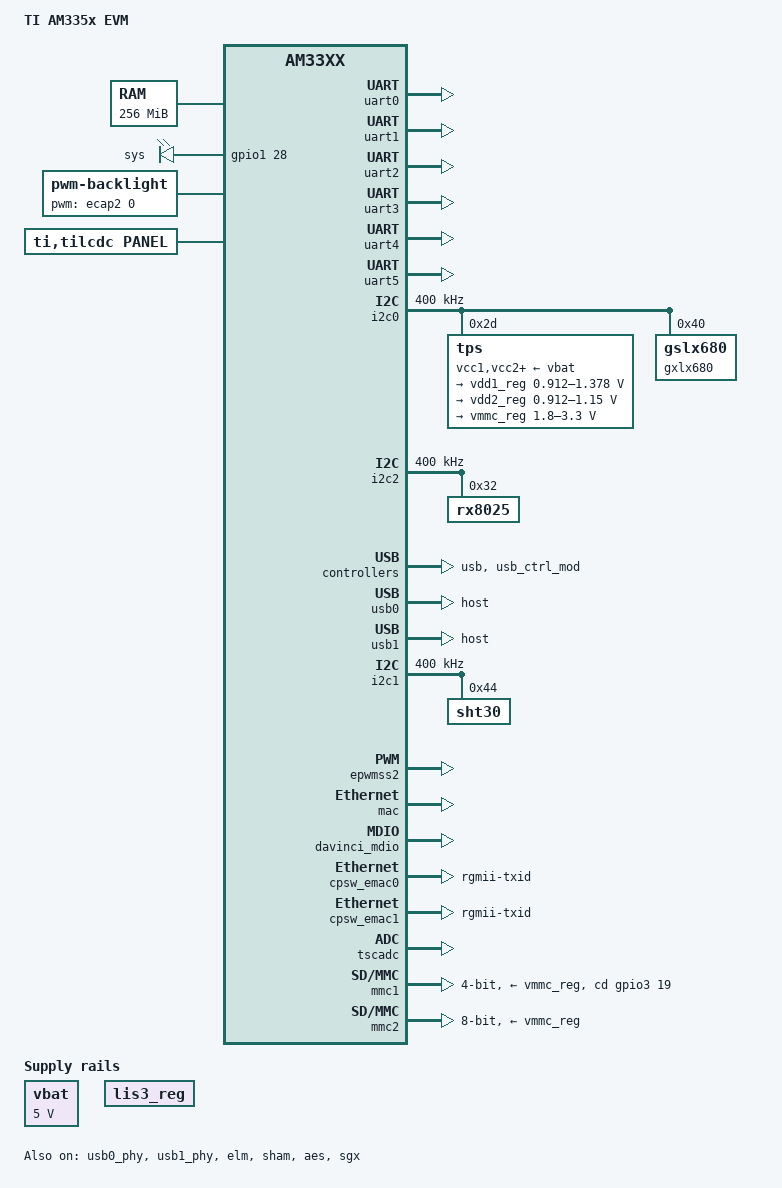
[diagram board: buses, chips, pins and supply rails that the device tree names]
/*
 * Copyright (C) 2012 Texas Instruments Incorporated - http://www.ti.com/
 *
 * This program is free software; you can redistribute it and/or modify
 * it under the terms of the GNU General Public License version 2 as
 * published by the Free Software Foundation.
 */
/dts-v1/;

#include "am33xx.dtsi"
#include <dt-bindings/interrupt-controller/irq.h>

/ {
	model = "TI AM335x EVM";
	compatible = "ti,am335x-evm", "ti,am33xx";

	cpus {
		cpu@0 {
			cpu0-supply = <&vdd1_reg>;
		};
	};

	memory {
		device_type = "memory";
		reg = <0x80000000 0x10000000>; /* 256 MB */
	};

	vbat: fixedregulator@0 {
		compatible = "regulator-fixed";
		regulator-name = "vbat";
		regulator-min-microvolt = <5000000>;
		regulator-max-microvolt = <5000000>;
		regulator-boot-on;
	};

	lis3_reg: fixedregulator@1 {
		compatible = "regulator-fixed";
		regulator-name = "lis3_reg";
		regulator-boot-on;
	};


	leds {
                pinctrl-names = "default";
                pinctrl-0 = <&user_leds_s0>;

                compatible = "gpio-leds";

                led@1 {
                        label = "sys";
                        gpios = <&gpio1 28 GPIO_ACTIVE_HIGH>;
                        linux,default-trigger = "heartbeat";
                        default-state = "on";
                };
        };


	backlight {
		compatible = "pwm-backlight";
		pwms = <&ecap2 0 50000 0>;
		brightness-levels = <0 51 53 56 62 75 101 152 255>;
		default-brightness-level = <1>;
	};

	panel {
		compatible = "ti,tilcdc,panel";
		status = "okay";
		panel-info {
			ac-bias           = <255>;
			ac-bias-intrpt    = <0>;
			dma-burst-sz      = <16>;
			bpp               = <16>;
			fdd               = <0x80>;
			sync-edge         = <0>;
			sync-ctrl         = <1>;
			raster-order      = <0>;
			fifo-th           = <0>;
		};

		display-timings {
			1024x600p62 {
				clock-frequency = <60000000>;
				hactive = <1024>;
				vactive = <600>;
				hfront-porch = <160>;
				hback-porch = <140>;
				hsync-len = <20>;
				vback-porch = <20>;
				vfront-porch = <12>;
				vsync-len = <3>;
				hsync-active = <1>;
				vsync-active = <1>;
			};
		};
	};

};

&am33xx_pinmux {
	pinctrl-names = "default";
	pinctrl-0 = < >;


	i2c0_pins: pinmux_i2c0_pins {
		pinctrl-single,pins = <
			0x188 (PIN_INPUT_PULLUP | MUX_MODE0)	/* i2c0_sda.i2c0_sda */
			0x18c (PIN_INPUT_PULLUP | MUX_MODE0)	/* i2c0_scl.i2c0_scl */
		>;
	};

	i2c1_pins_default: pinmux_i2c1_pins {
		pinctrl-single,pins = <
			0x158 (PIN_INPUT_PULLUP | MUX_MODE2)	/* spi0_d1.i2c1_sda */
			0x15c (PIN_INPUT_PULLUP | MUX_MODE2)	/* spi0_cs0.i2c1_scl */
		>;
	};

	i2c1_pins_sleep: i2c1_pins_sleep {
		pinctrl-single,pins = <
			0x158 (PIN_INPUT_PULLDOWN | MUX_MODE7)	/* spi0_d1.i2c1_sda */
			0x15c (PIN_INPUT_PULLDOWN | MUX_MODE7)	/* spi0_cs0.i2c1_scl */
		>;
	};

	i2c2_pins_default: pinmux_i2c2_pins {
		pinctrl-single,pins = <
			0x178 (PIN_INPUT_PULLDOWN | MUX_MODE3)
			0x17c (PIN_INPUT_PULLDOWN | MUX_MODE3)
		>;
	};

	uart0_pins: pinmux_uart0_pins {
		pinctrl-single,pins = <
			0x170 (PIN_INPUT_PULLUP | MUX_MODE0)	/* uart0_rxd.uart0_rxd */
			0x174 (PIN_OUTPUT_PULLDOWN | MUX_MODE0)	/* uart0_txd.uart0_txd */
		>;
	};

	uart1_pins_default: pinmux_uart1_pins_default {
		pinctrl-single,pins = <
			0x180 (PIN_INPUT_PULLUP | MUX_MODE0)	/* uart1_rxd.uart1_rxd */
			0x184 (PIN_OUTPUT_PULLDOWN | MUX_MODE0) 	/* uart1_txd.uart1_txd */
		>;
	};

	uart1_pins_sleep: pinmux_uart1_pins_sleep {
		pinctrl-single,pins = <
			0x180 (PIN_INPUT_PULLDOWN | MUX_MODE7)
			0x184 (PIN_INPUT_PULLDOWN | MUX_MODE7)
		>;
	};

	uart2_pins_default: pinmux_uart2_pins_default {
                pinctrl-single,pins = <
                       0x10C  (PIN_INPUT_PULLUP | MUX_MODE6)
                       0x110  (PIN_OUTPUT_PULLDOWN | MUX_MODE6)

                >;
        };

        uart2_pins_sleep: pinmux_uart2_pins_sleep {
                pinctrl-single,pins = <
                       0x10C  (PIN_INPUT_PULLDOWN | MUX_MODE7)
                       0x110  (PIN_OUTPUT_PULLDOWN | MUX_MODE7)
                >;
        };



       uart3_pins_default: pinmux_uart3_pins_default {
                pinctrl-single,pins = <
                       0x160  (PIN_INPUT_PULLUP | MUX_MODE1)
                       0x164  (PIN_OUTPUT_PULLDOWN | MUX_MODE1)
                >;
        };

        uart3_pins_sleep: pinmux_uart3_pins_sleep {
                pinctrl-single,pins = <
                       0x160  (PIN_INPUT_PULLUP | MUX_MODE7)
                       0x164  (PIN_OUTPUT_PULLDOWN | MUX_MODE7)
                >;
        };


       uart4_pins_default: pinmux_uart4_pins_default {
                pinctrl-single,pins = <
                       0x168  (PIN_INPUT_PULLUP | MUX_MODE1)
                       0x16C  (PIN_OUTPUT_PULLDOWN | MUX_MODE1)

                >;
        };

        uart4_pins_sleep: pinmux_uart4_pins_sleep {
                pinctrl-single,pins = <
                       0x168  (PIN_INPUT_PULLUP | MUX_MODE7)
                       0x16C  (PIN_OUTPUT_PULLDOWN | MUX_MODE7)
                >;
        };

	uart5_pins_default: pinmux_uart5_pins_default {
                pinctrl-single,pins = <
                       0xC4  (PIN_INPUT_PULLUP | MUX_MODE4)
                       0xC0  (PIN_OUTPUT_PULLDOWN | MUX_MODE4)

                >;
        };

        uart5_pins_sleep: pinmux_uart5_pins_sleep {
                pinctrl-single,pins = <
                       0xC4  (PIN_INPUT_PULLUP | MUX_MODE7)
                       0xC0  (PIN_OUTPUT_PULLDOWN | MUX_MODE7)
                >;
        };

	




	ecap2_pins_default: backlight_pins {
		pinctrl-single,pins = <
			0x19c 0x04	/* eCAP0_in_PWM0_out.eCAP0_in_PWM0_out MODE0 */
		>;
	};

	ecap2_pins_sleep: ecap2_pins_sleep {
		pinctrl-single,pins = <
			0x19c  (PIN_INPUT_PULLDOWN | MUX_MODE7)	/* eCAP0_in_PWM0_out.eCAP0_in_PWM0_out */
		>;
	};

	cpsw_default: cpsw_default {
		pinctrl-single,pins = <
			/* Slave 1 */
			0x114 (PIN_OUTPUT_PULLDOWN | MUX_MODE2)	/* mii1_txen.rgmii1_tctl */
			0x118 (PIN_INPUT_PULLDOWN | MUX_MODE2)	/* mii1_rxdv.rgmii1_rctl */
			0x11c (PIN_OUTPUT_PULLDOWN | MUX_MODE2)	/* mii1_txd3.rgmii1_td3 */
			0x120 (PIN_OUTPUT_PULLDOWN | MUX_MODE2)	/* mii1_txd2.rgmii1_td2 */
			0x124 (PIN_OUTPUT_PULLDOWN | MUX_MODE2)	/* mii1_txd1.rgmii1_td1 */
			0x128 (PIN_OUTPUT_PULLDOWN | MUX_MODE2)	/* mii1_txd0.rgmii1_td0 */
			0x12c (PIN_OUTPUT_PULLDOWN | MUX_MODE2)	/* mii1_txclk.rgmii1_tclk */
			0x130 (PIN_INPUT_PULLDOWN | MUX_MODE2)	/* mii1_rxclk.rgmii1_rclk */
			0x134 (PIN_INPUT_PULLDOWN | MUX_MODE2)	/* mii1_rxd3.rgmii1_rd3 */
			0x138 (PIN_INPUT_PULLDOWN | MUX_MODE2)	/* mii1_rxd2.rgmii1_rd2 */
			0x13c (PIN_INPUT_PULLDOWN | MUX_MODE2)	/* mii1_rxd1.rgmii1_rd1 */
			0x140 (PIN_INPUT_PULLDOWN | MUX_MODE2)	/* mii1_rxd0.rgmii1_rd0 */
			0x144 (PIN_OUTPUT_PULLDOWN | MUX_MODE0)

			0x40 (PIN_OUTPUT_PULLDOWN | MUX_MODE2)  /* gpmc_a0.rgmii2_tctl */
                       0x44 (PIN_INPUT_PULLDOWN | MUX_MODE2)   /* gpmc_a1.rgmii2_rctl */
                        0x48 (PIN_OUTPUT_PULLDOWN | MUX_MODE2)  /* gpmc_a2.rgmii2_td3 */
                        0x4c (PIN_OUTPUT_PULLDOWN | MUX_MODE2)  /* gpmc_a3.rgmii2_td2 */
                        0x50 (PIN_OUTPUT_PULLDOWN | MUX_MODE2)  /* gpmc_a4.rgmii2_td1 */
                        0x54 (PIN_OUTPUT_PULLDOWN | MUX_MODE2)  /* gpmc_a5.rgmii2_td0 */
                        0x58 (PIN_OUTPUT_PULLDOWN | MUX_MODE2)  /* gpmc_a6.rgmii2_tclk */
                        0x5c (PIN_INPUT_PULLDOWN | MUX_MODE2)   /* gpmc_a7.rgmii2_rclk */
                        0x60 (PIN_INPUT_PULLDOWN | MUX_MODE2)   /* gpmc_a8.rgmii2_rd3 */
                        0x64 (PIN_INPUT_PULLDOWN | MUX_MODE2)   /* gpmc_a9.rgmii2_rd2 */
                        0x68 (PIN_INPUT_PULLDOWN | MUX_MODE2)   /* gpmc_a10.rgmii2_rd1 */
                        0x6c (PIN_INPUT_PULLDOWN | MUX_MODE2)   /* gpmc_a11.rgmii2_rd0 */

		>;
	};

	cpsw_sleep: cpsw_sleep {
		pinctrl-single,pins = <
			/* Slave 1 reset value */
			0x114 (PIN_INPUT_PULLDOWN | MUX_MODE7)
			0x118 (PIN_INPUT_PULLDOWN | MUX_MODE7)
			0x11c (PIN_INPUT_PULLDOWN | MUX_MODE7)
			0x120 (PIN_INPUT_PULLDOWN | MUX_MODE7)
			0x124 (PIN_INPUT_PULLDOWN | MUX_MODE7)
			0x128 (PIN_INPUT_PULLDOWN | MUX_MODE7)
			0x12c (PIN_INPUT_PULLDOWN | MUX_MODE7)
			0x130 (PIN_INPUT_PULLDOWN | MUX_MODE7)
			0x134 (PIN_INPUT_PULLDOWN | MUX_MODE7)
			0x138 (PIN_INPUT_PULLDOWN | MUX_MODE7)
			0x13c (PIN_INPUT_PULLDOWN | MUX_MODE7)
			0x140 (PIN_INPUT_PULLDOWN | MUX_MODE7)
		>;
	};

	davinci_mdio_default: davinci_mdio_default {
		pinctrl-single,pins = <
			/* MDIO */
			0x148 (PIN_INPUT_PULLUP | SLEWCTRL_FAST | MUX_MODE0)	/* mdio_data.mdio_data */
			0x14c (PIN_OUTPUT_PULLUP | MUX_MODE0)			/* mdio_clk.mdio_clk */
		>;
	};

	davinci_mdio_sleep: davinci_mdio_sleep {
		pinctrl-single,pins = <
			/* MDIO reset value */
			0x148 (PIN_INPUT_PULLDOWN | MUX_MODE7)
			0x14c (PIN_INPUT_PULLDOWN | MUX_MODE7)
		>;
	};

	mmc1_pins_default: pinmux_mmc1_pins {
		pinctrl-single,pins = <
			0x0F0 (PIN_INPUT_PULLUP | MUX_MODE0)    /* mmc0_dat3.mmc0_dat3 */
			0x0F4 (PIN_INPUT_PULLUP | MUX_MODE0)    /* mmc0_dat2.mmc0_dat2 */
			0x0F8 (PIN_INPUT_PULLUP | MUX_MODE0)    /* mmc0_dat1.mmc0_dat1 */
			0x0FC (PIN_INPUT_PULLUP | MUX_MODE0)    /* mmc0_dat0.mmc0_dat0 */
			0x100 (PIN_INPUT_PULLUP | MUX_MODE0)    /* mmc0_clk.mmc0_clk */
			0x104 (PIN_INPUT_PULLUP | MUX_MODE0)    /* mmc0_cmd.mmc0_cmd */
			0x1A4 (PIN_INPUT_PULLUP | MUX_MODE7)    /* mcasp0_fsr.gpio3_19 */
		>;
	};

	mmc1_pins_sleep: pinmux_mmc1_pins_sleep {
		pinctrl-single,pins = <
			0x0F0 (PIN_INPUT_PULLDOWN | MUX_MODE7)
			0x0F4 (PIN_INPUT_PULLDOWN | MUX_MODE7)
			0x0F8 (PIN_INPUT_PULLDOWN | MUX_MODE7)
			0x0FC (PIN_INPUT_PULLDOWN | MUX_MODE7)
			0x100 (PIN_INPUT_PULLDOWN | MUX_MODE7)
			0x104 (PIN_INPUT_PULLDOWN | MUX_MODE7)
			0x1A4 (PIN_INPUT_PULLDOWN | MUX_MODE7)
		>;
	};


	mmc2_pins_default: pinmux_mmc2_pins {
                pinctrl-single,pins = <
                        0x000 (PIN_INPUT_PULLUP | MUX_MODE1)    /* gpmc_ad0.mmc1_dat0 */
                        0x004 (PIN_INPUT_PULLUP | MUX_MODE1)    /* gpmc_ad1.mmc1_dat1 */
                        0x008 (PIN_INPUT_PULLUP | MUX_MODE1)    /* gpmc_ad2.mmc1_dat2 */
                        0x00c (PIN_INPUT_PULLUP | MUX_MODE1)    /* gpmc_ad3.mmc1_dat3 */
                        0x010 (PIN_INPUT_PULLUP | MUX_MODE1)    /* gpmc_ad4.mmc1_dat4 */
                        0x014 (PIN_INPUT_PULLUP | MUX_MODE1)    /* gpmc_ad5.mmc1_dat5 */
                        0x018 (PIN_INPUT_PULLUP | MUX_MODE1)    /* gpmc_ad6.mmc1_dat6 */
                        0x01c (PIN_INPUT_PULLUP | MUX_MODE1)    /* gpmc_ad7.mmc1_dat7 */
                >;
        };

        mmc2_pins_sleep: pinmux_mmc2_pins_sleep {
                pinctrl-single,pins = <
                        0x000 (PIN_INPUT_PULLDOWN | MUX_MODE1)    /* gpmc_ad0.mmc1_dat0 */
                        0x004 (PIN_INPUT_PULLDOWN | MUX_MODE1)    /* gpmc_ad1.mmc1_dat1 */
                        0x008 (PIN_INPUT_PULLDOWN | MUX_MODE1)    /* gpmc_ad2.mmc1_dat2 */
                        0x00c (PIN_INPUT_PULLDOWN | MUX_MODE1)    /* gpmc_ad3.mmc1_dat3 */
                        0x010 (PIN_INPUT_PULLDOWN | MUX_MODE1)    /* gpmc_ad4.mmc1_dat4 */
                        0x014 (PIN_INPUT_PULLDOWN | MUX_MODE1)    /* gpmc_ad5.mmc1_dat5 */
                        0x018 (PIN_INPUT_PULLDOWN | MUX_MODE1)    /* gpmc_ad6.mmc1_dat6 */
                        0x01c (PIN_INPUT_PULLDOWN | MUX_MODE1)    /* gpmc_ad7.mmc1_dat7 */
                >;
        };



	nand_pins_default: nand_pins_default {
                pinctrl-single,pins = <
                        0x0 (PIN_INPUT_PULLUP | MUX_MODE0)      /* gpmc_ad0.gpmc_ad0 */
                        0x4 (PIN_INPUT_PULLUP | MUX_MODE0)      /* gpmc_ad1.gpmc_ad1 */
                        0x8 (PIN_INPUT_PULLUP | MUX_MODE0)      /* gpmc_ad2.gpmc_ad2 */
                        0xc (PIN_INPUT_PULLUP | MUX_MODE0)      /* gpmc_ad3.gpmc_ad3 */
                        0x10 (PIN_INPUT_PULLUP | MUX_MODE0)     /* gpmc_ad4.gpmc_ad4 */
                        0x14 (PIN_INPUT_PULLUP | MUX_MODE0)     /* gpmc_ad5.gpmc_ad5 */
                        0x18 (PIN_INPUT_PULLUP | MUX_MODE0)     /* gpmc_ad6.gpmc_ad6 */
                        0x1c (PIN_INPUT_PULLUP | MUX_MODE0)     /* gpmc_ad7.gpmc_ad7 */
                        0x70 (PIN_INPUT_PULLUP | MUX_MODE0)     /* gpmc_wait0.gpmc_wait0 */
                        0x74 (PIN_INPUT_PULLUP | MUX_MODE7)     /* gpmc_wpn.gpio0_30 */
                        0x7c (PIN_OUTPUT | MUX_MODE0)           /* gpmc_csn0.gpmc_csn0  */
                        0x90 (PIN_OUTPUT | MUX_MODE0)           /* gpmc_advn_ale.gpmc_advn_ale */
                        0x94 (PIN_OUTPUT | MUX_MODE0)           /* gpmc_oen_ren.gpmc_oen_ren */
                        0x98 (PIN_OUTPUT | MUX_MODE0)           /* gpmc_wen.gpmc_wen */
                        0x9c (PIN_OUTPUT | MUX_MODE0)           /* gpmc_be0n_cle.gpmc_be0n_cle */
                >;
        };




	lcd_pins_default: lcd_pins_default {
		pinctrl-single,pins = <
			0xa0 (PIN_OUTPUT | MUX_MODE0)		/* lcd_data0.lcd_data0 */
			0xa4 (PIN_OUTPUT | MUX_MODE0)		/* lcd_data1.lcd_data1 */
			0xa8 (PIN_OUTPUT | MUX_MODE0)		/* lcd_data2.lcd_data2 */
			0xac (PIN_OUTPUT | MUX_MODE0)		/* lcd_data3.lcd_data3 */
			0xb0 (PIN_OUTPUT | MUX_MODE0)		/* lcd_data4.lcd_data4 */
			0xb4 (PIN_OUTPUT | MUX_MODE0)		/* lcd_data5.lcd_data5 */
			0xb8 (PIN_OUTPUT | MUX_MODE0)		/* lcd_data6.lcd_data6 */
			0xbc (PIN_OUTPUT | MUX_MODE0)		/* lcd_data7.lcd_data7 */
			0xc0 (PIN_OUTPUT | MUX_MODE0)		/* lcd_data8.lcd_data8 */
			0xc4 (PIN_OUTPUT | MUX_MODE0)		/* lcd_data9.lcd_data9 */
			0xc8 (PIN_OUTPUT | MUX_MODE0)		/* lcd_data10.lcd_data10 */
			0xcc (PIN_OUTPUT | MUX_MODE0)		/* lcd_data11.lcd_data11 */
			0xd0 (PIN_OUTPUT | MUX_MODE0)		/* lcd_data12.lcd_data12 */
			0xd4 (PIN_OUTPUT | MUX_MODE0)		/* lcd_data13.lcd_data13 */
			0xd8 (PIN_OUTPUT | MUX_MODE0)		/* lcd_data14.lcd_data14 */
			0xdc (PIN_OUTPUT | MUX_MODE0)		/* lcd_data15.lcd_data15 */
			0xe0 (PIN_OUTPUT | MUX_MODE0)		/* lcd_vsync.lcd_vsync */
			0xe4 (PIN_OUTPUT | MUX_MODE0)		/* lcd_hsync.lcd_hsync */
			0xe8 (PIN_OUTPUT | MUX_MODE0)		/* lcd_pclk.lcd_pclk */
			0xec (PIN_OUTPUT | MUX_MODE0)		/* lcd_ac_bias_en.lcd_ac_bias_en */
		>;
	};

	lcd_pins_sleep: lcd_pins_sleep {
		pinctrl-single,pins = <
			0xa0 (PULL_DISABLE | MUX_MODE7)		/* lcd_data0.lcd_data0 */
			0xa4 (PULL_DISABLE | MUX_MODE7)		/* lcd_data1.lcd_data1 */
			0xa8 (PULL_DISABLE | MUX_MODE7)		/* lcd_data2.lcd_data2 */
			0xac (PULL_DISABLE | MUX_MODE7)		/* lcd_data3.lcd_data3 */
			0xb0 (PULL_DISABLE | MUX_MODE7)		/* lcd_data4.lcd_data4 */
			0xb4 (PULL_DISABLE | MUX_MODE7)		/* lcd_data5.lcd_data5 */
			0xb8 (PULL_DISABLE | MUX_MODE7)		/* lcd_data6.lcd_data6 */
			0xbc (PULL_DISABLE | MUX_MODE7)		/* lcd_data7.lcd_data7 */
			0xc0 (PULL_DISABLE | MUX_MODE7)		/* lcd_data8.lcd_data8 */
			0xc4 (PULL_DISABLE | MUX_MODE7)		/* lcd_data9.lcd_data9 */
			0xc8 (PULL_DISABLE | MUX_MODE7)		/* lcd_data10.lcd_data10 */
			0xcc (PULL_DISABLE | MUX_MODE7)		/* lcd_data11.lcd_data11 */
			0xd0 (PULL_DISABLE | MUX_MODE7)		/* lcd_data12.lcd_data12 */
			0xd4 (PULL_DISABLE | MUX_MODE7)		/* lcd_data13.lcd_data13 */
			0xd8 (PULL_DISABLE | MUX_MODE7)		/* lcd_data14.lcd_data14 */
			0xdc (PULL_DISABLE | MUX_MODE7)		/* lcd_data15.lcd_data15 */
			0xe0 (PIN_INPUT_PULLDOWN | MUX_MODE7)	/* lcd_vsync.lcd_vsync, OUTPUT | MODE0 */
			0xe4 (PIN_INPUT_PULLDOWN | MUX_MODE7)	/* lcd_hsync.lcd_hsync */
			0xe8 (PIN_INPUT_PULLDOWN | MUX_MODE7)	/* lcd_pclk.lcd_pclk */
			0xec (PIN_INPUT_PULLDOWN | MUX_MODE7)	/* lcd_ac_bias_en.lcd_ac_bias_en */
		>;
	};

	user_leds_s0: user_leds_s0 {
                pinctrl-single,pins = <
                        0x78 (PIN_OUTPUT_PULLDOWN | MUX_MODE7)  /* gpmc_ad4.gpio1_4 */
                >;
        };

	dcan1_pins_default: dcan1_pins_default {
		pinctrl-single,pins = <
			0x168 (PIN_OUTPUT | MUX_MODE2) /* uart0_ctsn.d_can1_tx */
			0x16c (PIN_INPUT_PULLDOWN | MUX_MODE2) /* uart0_rtsn.d_can1_rx */
		>;
	};
};

&uart0 {
	pinctrl-names = "default";
	pinctrl-0 = <&uart0_pins>;

	status = "okay";
};

&uart1 {
	pinctrl-names = "default", "sleep";
	pinctrl-0 = <&uart1_pins_default>;
	pinctrl-1 = <&uart1_pins_sleep>;

	status = "okay";
};


&uart2 {
       pinctrl-names = "default", "sleep";
        pinctrl-0 = <&uart2_pins_default>;
        pinctrl-1 = <&uart2_pins_sleep>;
        status = "okay";
};

&uart3 {
       pinctrl-names = "default", "sleep";
        pinctrl-0 = <&uart3_pins_default>;
        pinctrl-1 = <&uart3_pins_sleep>;
        status = "okay";
};

&uart4 {
       pinctrl-names = "default", "sleep";
        pinctrl-0 = <&uart4_pins_default>;
        pinctrl-1 = <&uart4_pins_sleep>;
        status = "okay";
};

&uart5 {
       pinctrl-names = "default", "sleep";
        pinctrl-0 = <&uart5_pins_default>;
        pinctrl-1 = <&uart5_pins_sleep>;
        status = "okay";
};




&i2c0 {
	pinctrl-names = "default";
	pinctrl-0 = <&i2c0_pins>;

	status = "okay";
	clock-frequency = <400000>;

	tps: tps@2d {
		reg = <0x2d>;
	};
	
	gxlx680: gxlx680@40{
		compatible = "gslx680";
		reg = <0x40>;
	};
};

&i2c2 {
	pinctrl-names = "default";
        pinctrl-0 = <&i2c2_pins_default>;

        status = "okay";
        clock-frequency = <400000>;


	rx8025@32 {
                compatible = "rx8025";
                reg = <0x32>;
        };
	
};

&usb {
	status = "okay";
};

&usb_ctrl_mod {
	status = "okay";
};

&usb0_phy {
	status = "okay";
};

&usb1_phy {
	status = "okay";
};

&usb0 {
	status = "okay";
	dr_mode = "host";
};

&usb1 {
	status = "okay";
	dr_mode = "host";
};

&cppi41dma  {
	status = "okay";
};

&i2c1 {
	pinctrl-names = "default", "sleep";
	pinctrl-0 = <&i2c1_pins_default>;
	pinctrl-1 = <&i2c1_pins_sleep>;

	status = "okay";
	clock-frequency = <400000>;

	sht30: sht30@44{
                compatible = "sht30";
                reg = <0x44>;
        };

};


&elm {
	status = "okay";
};


&epwmss2 {
	status = "okay";

	ecap2: ecap@48304100 {
		status = "okay";
		pinctrl-names = "default", "sleep";
		pinctrl-0 = <&ecap2_pins_default>;
		pinctrl-1 = <&ecap2_pins_sleep>;
	};
};



#include "tps65910.dtsi"


&tps {
	vcc1-supply = <&vbat>;
	vcc2-supply = <&vbat>;
	vcc3-supply = <&vbat>;
	vcc4-supply = <&vbat>;
	vcc5-supply = <&vbat>;
	vcc6-supply = <&vbat>;
	vcc7-supply = <&vbat>;
	vccio-supply = <&vbat>;

	regulators {
		vrtc_reg: regulator@0 {
			regulator-always-on;
		};

		vio_reg: regulator@1 {
			regulator-always-on;
		};

		vdd1_reg: regulator@2 {
			/* VDD_MPU voltage limits 0.95V - 1.325V with +/-4% tolerance */
			regulator-name = "vdd_mpu";
			regulator-min-microvolt = <912500>;
			regulator-max-microvolt = <1378000>;
			regulator-boot-on;
			regulator-always-on;
		};

		vdd2_reg: regulator@3 {
			/* VDD_CORE voltage limits 0.95V - 1.1V with +/-4% tolerance */
			regulator-name = "vdd_core";
			regulator-min-microvolt = <912500>;
			regulator-max-microvolt = <1150000>;
			regulator-boot-on;
			regulator-always-on;
		};

		vdd3_reg: regulator@4 {
			regulator-always-on;
		};

		vdig1_reg: regulator@5 {
			regulator-always-on;
		};

		vdig2_reg: regulator@6 {
			regulator-always-on;
		};

		vpll_reg: regulator@7 {
			regulator-always-on;
		};

		vdac_reg: regulator@8 {
			regulator-always-on;
		};

		vaux1_reg: regulator@9 {
			regulator-always-on;
		};

		vaux2_reg: regulator@10 {
			regulator-always-on;
		};

		vaux33_reg: regulator@11 {
			regulator-always-on;
		};

		vmmc_reg: regulator@12 {
			regulator-min-microvolt = <1800000>;
			regulator-max-microvolt = <3300000>;
			regulator-always-on;
		};
	};
};

&mac {
	pinctrl-names = "default", "sleep";
	pinctrl-0 = <&cpsw_default>;
	pinctrl-1 = <&cpsw_sleep>;
	dual_emac;
	status = "okay";
};

&davinci_mdio {
	pinctrl-names = "default", "sleep";
	pinctrl-0 = <&davinci_mdio_default>;
	pinctrl-1 = <&davinci_mdio_sleep>;
	status = "okay";
};

&cpsw_emac0 {
	phy_id = <&davinci_mdio>, <6>;
	phy-mode = "rgmii-txid";
	dual_emac_res_vlan = <1>;
};

&cpsw_emac1 {
	phy_id = <&davinci_mdio>, <4>;
	phy-mode = "rgmii-txid";
	dual_emac_res_vlan = <2>;
};

&tscadc {
	status = "okay";
	tsc {
		ti,wires = <4>;
		ti,x-plate-resistance = <200>;
		ti,coordinate-readouts = <5>;
		ti,wire-config = <0x00 0x11 0x22 0x33>;
	};
	adc {
		ti,adc-channels = <4>;
	};

};

&mmc1 {
	status = "okay";
	vmmc-supply = <&vmmc_reg>;
	bus-width = <4>;
	pinctrl-names = "default", "sleep";
	pinctrl-0 = <&mmc1_pins_default>;
	pinctrl-1 = <&mmc1_pins_sleep>;
	cd-gpios = <&gpio3 19 GPIO_ACTIVE_HIGH>;
};

&mmc2 {
        status = "okay";
        vmmc-supply = <&vmmc_reg>;
        bus-width = <8>;
        pinctrl-names = "default", "sleep";
        pinctrl-0 = <&mmc2_pins_default>;
        pinctrl-1 = <&mmc2_pins_sleep>;
        ti,non-removable;
};




&sham {
	status = "okay";
};

&aes {
	status = "okay";
};

&dcan1 {
	status = "disabled";	/* Enable only if Profile 1 is selected */
	pinctrl-names = "default";
	pinctrl-0 = <&dcan1_pins_default>;
};

&wkup_m3_ipc {
	ti,scale-data-fw = "am335x-evm-scale-data.bin";
};

&rtc {
	system-power-controller;
};

&sgx {
	status = "okay";
};
